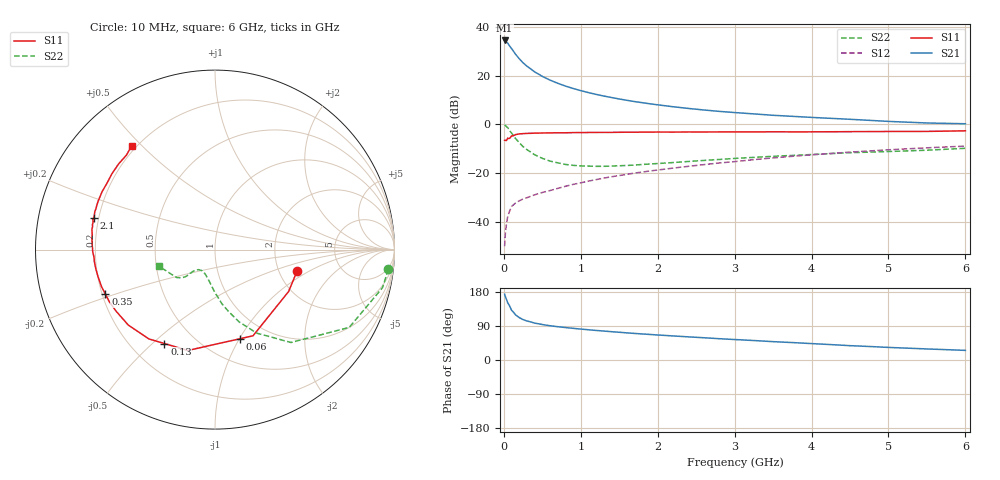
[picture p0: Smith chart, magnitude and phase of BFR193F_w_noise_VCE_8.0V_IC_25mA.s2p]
! (c) 2017  Infineon Technologies AG, Munich
! Infineon Technologies  Discrete & RF Semiconductors
! BFR193F
! VCE =  8.0 V,  IC =  25 mA
! Common Emitter S-Parameters:  Jan 2017
# GHz  S  MA  R  50
!  f  S11  S21  S12  S22
! GHz  MAG  ANG  MAG  ANG  MAG  ANG  MAG  ANG
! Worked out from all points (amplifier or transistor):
!   77 points, 10 MHz to 6 GHz, reference 50 ohm
!   highest |S21| = 34.4 dB at 10 MHz (marker M1)
!   |S21| within 3 dB of that: start of sweep to 92.21 MHz
!   unconditionally stable (mu >= 1): 1.197 GHz to 2.669 GHz
!   at 130 MHz: K = 0.32, MSG = 31.3 dB, |S12| = -32.8 dB
!   at 2.2 GHz: K = 1.02, MAG = 11.6 dB, |S12| = -17.9 dB
!   at 6 GHz: K = 0.84, MSG = 4.6 dB, |S12| = -8.9 dB
!   lowest NFmin = 1.11 dB at 450 MHz
!   S11 on the Smith chart (normalised r, x): 10 MHz: 2.53, -0.76; 60 MHz: 0.74, -1.01; 130 MHz: 0.34, -0.55; 350 MHz: 0.21, -0.19; 2.1 GHz: 0.18, +0.13; 6 GHz: 0.18, +0.47
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0.01  0.4732 -14.3  52.78 173.6  0.0032 89.2  0.9722 -6.5
0.02  0.4719 -29.7  51.53 167.2  0.0059 84.0  0.9571 -12.8
0.05  0.5249 -66.2  46.62 150.9  0.0128 68.3  0.8643 -30.1
0.06  0.5157 -74.3  44.16 147.8  0.0143 64.5  0.818 -33.4
0.1  0.5821 -105.1  36.04 131.3  0.0208 55.2  0.6687 -50.7
0.13  0.5944 -118.3  30.96 125.0  0.0229 51.4  0.5765 -57.5
0.15  0.6192 -126.5  27.84 119.5  0.0244 49.3  0.5209 -63.4
0.2  0.6405 -139.0  22.29 111.9  0.0272 48.1  0.4239 -71.6
0.25  0.649 -148.0  18.38 106.7  0.0298 47.1  0.351 -77.8
0.3  0.6566 -153.7  15.64 102.9  0.0315 48.9  0.3048 -82.7
0.35  0.6591 -157.8  13.79 100.5  0.0338 50.4  0.2717 -85.9
0.4  0.665 -161.9  11.96 97.3  0.0361 51.8  0.2397 -90.0
0.5  0.669 -167.0  9.683 93.6  0.0403 54.7  0.2021 -95.7
0.6  0.6728 -170.9  8.127 90.4  0.0442 57.7  0.1777 -100.6
0.8  0.6755 -176.5  6.134 85.7  0.054 61.4  0.1517 -109.3
1.1  0.6852 177.7  4.501 79.8  0.0691 65.8  0.1402 -118.9
1.5  0.6919 171.9  3.333 73.2  0.0897 69.0  0.1426 -127.6
2.1  0.6992 165.2  2.418 64.8  0.1219 70.7  0.162 -134.1
3.1  0.7049 156.5  1.712 53.0  0.1799 70.8  0.2054 -136.4
4.1  0.7073 147.5  1.372 42.3  0.245 68.0  0.2461 -140.4
5.1  0.7186 137.3  1.139 32.4  0.3082 63.1  0.2824 -151.8
6  0.7411 128.8  1.035 25.4  0.3601 58.0  0.3247 -163.2
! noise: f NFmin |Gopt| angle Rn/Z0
0.45  1.11  0.36  173  0.06
0.9  1.19  0.41  174  0.06
1.9  1.77  0.57  -169  0.07
2.4  2.06  0.61  -160  0.11
